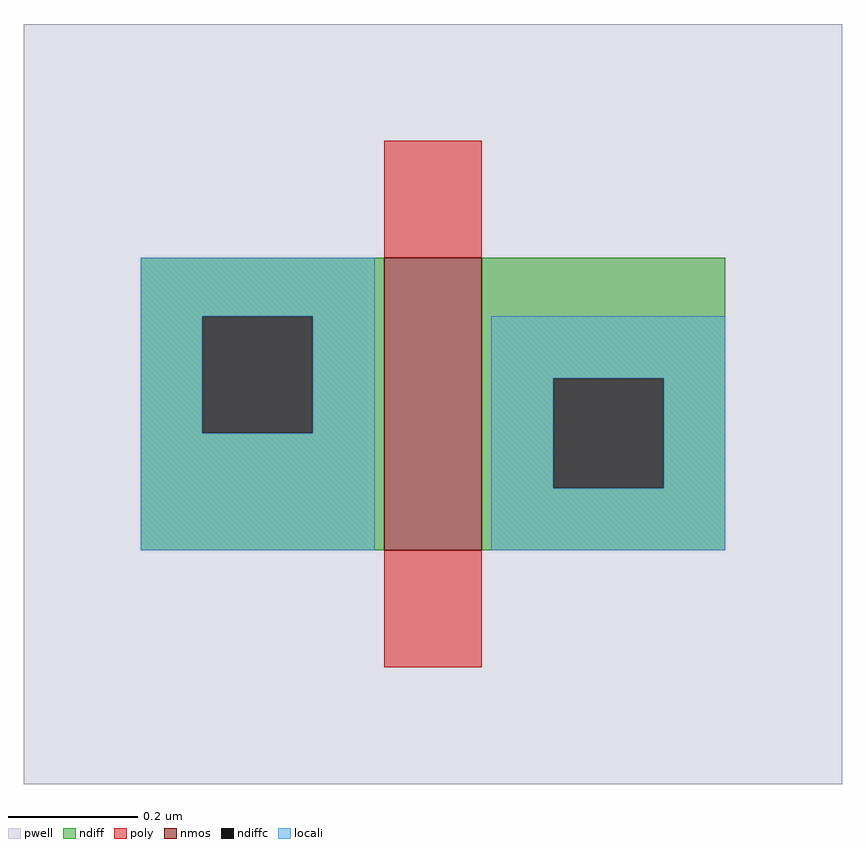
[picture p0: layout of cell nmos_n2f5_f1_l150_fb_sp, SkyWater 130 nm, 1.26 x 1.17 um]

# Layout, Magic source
magic
tech sky130A
magscale 1 2
<< pwell >>
rect -72 -72 180 162
<< nmos >>
rect 39 0 69 90
<< ndiff >>
rect -36 72 39 90
rect -36 36 -17 72
rect 17 36 39 72
rect -36 0 39 36
rect 69 53 144 90
rect 69 19 91 53
rect 125 19 144 53
rect 69 0 144 19
<< ndiffc >>
rect -17 36 17 72
rect 91 19 125 53
<< poly >>
rect 39 90 69 126
rect 39 -36 69 0
<< locali >>
rect -36 72 36 90
rect -36 36 -17 72
rect 17 36 36 72
rect -36 0 36 36
rect 72 53 144 72
rect 72 19 91 53
rect 125 19 144 53
rect 72 0 144 19
<< end >>
